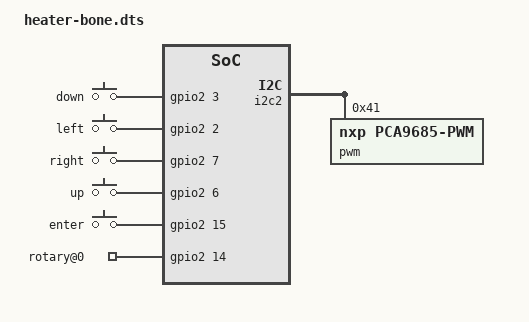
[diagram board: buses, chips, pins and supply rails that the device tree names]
/*
 * Copyright (C) 2013 Matt Ranostay <mranostay@gmail.com>
 * 
 * This program is free software; you can redistribute it and/or
 * modify it under the terms of the GNU General Public License version
 * 2 as published by the Free Software Foundation.
 */

/dts-v1/;
/plugin/;

/ {
        compatible = "ti,beaglebone", "ti,beaglebone-black";
        /* identification */
        part-number = "BB-BONE-HEATER";
        version = "00A0";

        /* state the resources this cape uses */
        exclusive-use =
                /* the pin header uses */
                "P8.7",  /* BTN4:      GPIO2.2    */
                "P8.8",  /* BTN3:      GPIO2.3    */
                "P8.9",  /* BTN2:      GPIO2.5    */
                "P8.10", /* BTN1:      GPIO2.4    */

                "P8.11", /* HEATER_EN_SS: GPIO1.13   */
                "P8.12", /* HEATER_EN: GPIO1.12   */

                "P8.13", /* ENC_SW:    GPIO0.23   */
                "P8.14", /* ENC_B:     GPIO0.26   */
                "P8.15", /* ENC_A:     GPIO1.15   */

                "P8.16", /* LCD_D7:    GPIO1.14   */
                "P8.17", /* LCD_D5:    GPIO0.27   */
                "P8.18", /* LCD_D6:    GPIO2.1    */
                "P8.19", /* LCD_D4:    GPIO0.22   */
                "P8.26", /* LCD_D3:    GPIO1.29   */
                // "P8.27", /* LCD_D1:    GPIO2.22   */
                // "P8.28", /* LCD_D2:    GPIO2.24   */
                // "P8.29", /* LCD_E:     GPIO2.23   */
                // "P8.30", /* LCD_D0:    GPIO2.25   */
                // "P8.34", /* LCD_RS:    GPIO2.17   */

                // "P8.31", /* XBEE_CTSn: UART5_CTSn */
                // "P8.32", /* XBEE_RTSn: UART5_RTSn */
                // "P8.37", /* XBEE_TxD:  UART5_TxD  */
                // "P8.38", /* XBEE_RxD:  UART5_RxD  */
                // "P8.39", /* XBEE_RESETn: GPIO2.12 */
                // "P8.40", /* XBEE_SLEEP:  GPIO2.13 */
                // "P8.42", /* XBEE_PWR:  GPIO2.11   */

                "P9.15", /* LEDS_ENn:  GPIO1.16   */

                "P9.19", /* SCL:       I2C2_SCL   */
                "P9.20", /* SDA:       I2C2_SDA   */

                "P9.23", /* ADC_INT:   GPIO1.17   */
                // "P9.28", /* ADC_CSn:   SPI1_CS0   */

                "P9.42", /* NRF_CSn:   SPI1_CS1   */
                "P9.26", /* NRF_CE:    GPIO?      */
                "P9.27", /* NRF_IRQ:   GPIO3.19   */

                //"P9.29", /* SPI1_MOSI: SPI1_D0    */
                "P9.30", /* SPI1_MISO: SPI1_D1    */
                //"P9.31", /* SPI1_SCLK: SPI1_SCLK  */

                /* the hardware IP uses */
                "uart5",
                "spi1";

        fragment@0 {
                target = <&am33xx_pinmux>;
                __overlay__ {
                        gpio_helper_pins: pinmux_gpio_helper_pins {
                                pinctrl-single,pins = <
					/* configure UART5 */
                                        0xc4 0x24  /* lcd_data9.uart4_rxd | MODE4 */
                                        0xc0 0x04  /* lcd_data9.uart4_txd | MODE4 */
                                >;
                        };
                };
        };

        fragment@2 {
                target = <&i2c2>;
                __overlay__ {
                        status = "okay";
                        pwm: pca@41 {
                             compatible = "nxp,pca9685-pwm";
                             #pwm-cells = <2>;
                             reg = <0x41>;
                             invert;
                             open-drain;
                        };
                };

                lcd_backlight {pwms = <&pwm 0 5000000>;};

                red_led       {pwms = <&pwm 14 5000000>;};
                green_led     {pwms = <&pwm 13 5000000>;};
                blue_led      {pwms = <&pwm 12 5000000>;};

                led1          {pwms = <&pwm 10 5000000>;};
                led2          {pwms = <&pwm 11 5000000>;};
                led3          {pwms = <&pwm 4  5000000>;};
                led4          {pwms = <&pwm 5  5000000>;};
                led5          {pwms = <&pwm 8  5000000>;};
                led6          {pwms = <&pwm 9  5000000>;};
                led7          {pwms = <&pwm 6  5000000>;};
                led8          {pwms = <&pwm 7  5000000>;};
                led9          {pwms = <&pwm 0  5000000>;};
                led10         {pwms = <&pwm 1  5000000>;};
                led11         {pwms = <&pwm 2  5000000>;};
                led12         {pwms = <&pwm 3  5000000>;};
        };

        fragment@3 {
                target = <&ocp>;
                __overlay__ {
                        gpio_keys {
                                compatible = "gpio-keys";
                                #address-cells = <1>;
                                #size-cells = <0>;
                                
                                autorepeat;
                                button@1 {
                                        label = "down";
                                        linux,code = <103>;
                                        gpios = <&gpio2 3 0x00>;
                                };

                                button@2 {
                                        label = "left";
                                        linux,code = <104>;
                                        gpios = <&gpio2 2 0x00>;
                                };

                                button@3 {
                                        label = "right";
                                        linux,code = <104>;
                                        gpios = <&gpio2 7 0x00>;
                                };

                                button@4 {
                                        label = "up";
                                        linux,code = <104>;
                                        gpios = <&gpio2 6 0x00>;
                                };

                                button@5 {
                                        label = "enter";
                                        linux,code = <104>;
                                        gpios = <&gpio2 15 0x00>;
                                };

                                rotary@0 {
                                        compatible = "rotary-encoder";
                                        gpios = <&gpio2 14 0>, <&gpio1 27 0>; 
                                        linux,axis = <0>; /* REL_X */
                                        rotary-encoder,relative-axis;
                                };
                        };
                };
        };

        fragment@4 {
                target = <&ocp>;
                __overlay__ {
                        gpio_helper {
                                compatible = "gpio-of-helper";
                                status = "okay";
                                pinctrl-names = "default";
                                pinctrl-0 = <&gpio_helper_pins>;

                                heater_enable {
                                        gpio-name = "heater_enable";
                                        gpio = <&gpio2 12 0x00>;
                                        input;
                                };

                                lcd_d6 {
                                        gpio-name = "lcd_d6";
                                        gpio = <&gpio2 30 0x00>;
                                        output;
                                };

                                lcd_d7 {
                                        gpio-name = "lcd_d7";
                                        gpio = <&gpio2 5  0x00>;
                                        output;
                                };

                                lcd_d4 {
                                        gpio-name = "lcd_d4";
                                        gpio = <&gpio2 4  0x00>;
                                        output;
                                };
                                
                                lcd_d5 {
                                        gpio-name = "lcd_d5";
                                        gpio = <&gpio2 1  0x00>;
                                        output;
                                };

                                lcd_d2 {
                                        gpio-name = "lcd_d2";
                                        gpio = <&gpio2 0  0x00>;
                                        output;
                                };

                                lcd_d3 {
                                        gpio-name = "lcd_d3";
                                        gpio = <&gpio2 29 0x00>;
                                        output;
                                };

                                lcd_d0 {
                                        gpio-name = "lcd_d0";
                                        gpio = <&gpio3 22 0x00>;
                                        output;
                                };

                                lcd_d1 {
                                        gpio-name = "lcd_d1";
                                        gpio = <&gpio3 24 0x00>;
                                        output;
                                };

                                lcd_rs {
                                        gpio-name = "lcd_rs";
                                        gpio = <&gpio3 23 0x00>;
                                        output;
                                };

                                lcd_e  {
                                        gpio-name = "lcd_e";
                                        gpio = <&gpio3 25 0x00>;
                                        output;
                                };
                                
                                xbee_reset {
                                        gpio-name = "xbee_reset";
                                        gpio = <&gpio3 12 0x00>;
                                        output;
                                };
                        };                                       
                };
        };
};
